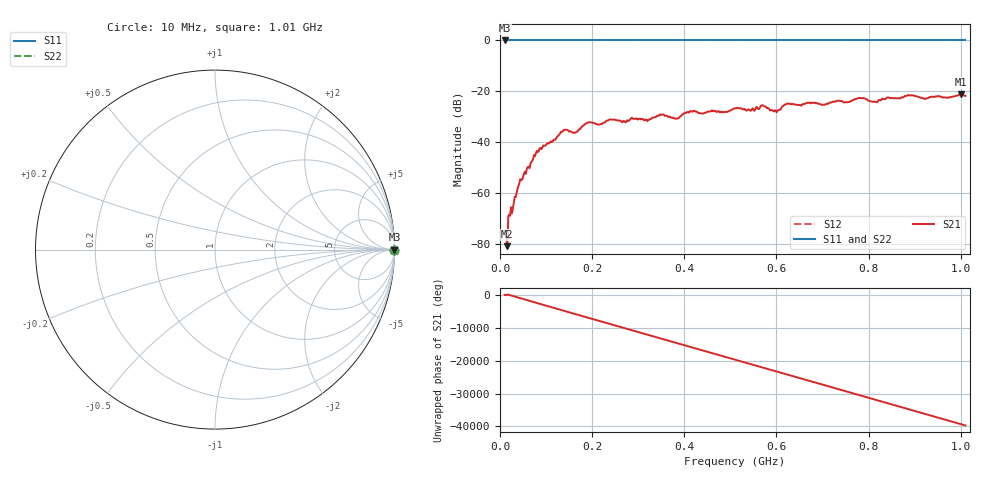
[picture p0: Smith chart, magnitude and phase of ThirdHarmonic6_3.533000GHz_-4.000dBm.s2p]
! 8/17/2025 11:36:58 AM
! C:\ANRITSUVNA\TEMP\TEMP.S2P
! CHANNEL.1
! TR.MEASUREMENT
! RAW.DATA
! RF.CORRECTION.OFF
! AVERAGING.OFF
! IF.BANDWIDTH: 5KHZ
! SWEEPTYPE:  FREQ.SWEEP(Linear)
! Reference Plane Port Info
! PORT:  PORT1  PORT2
! DISTANCE:  0  m  0  m
! TIME:  0  s  0  s
! PHASE.OFFSET:  0  deg.  0  deg.
! LOSS:  0  dB  0  dB
! REF.LOSS:  0  dB  0  dB
! REF.FREQ:  0  Hz  0  Hz
! Power Info
! POWER:  -20  dBm  -20  dBm
! EFF.POWER:  -20  dBm  -20  dBm
! SOURCE.ATTEN:  0  dB  0  dB
! TEST.ATTEN:  0  dB  0  dB
# GHZ S RI R 50.0
! FREQ.GHZ  S11RE  S11IM  S21RE  S21IM  S12RE  S12IM  S22RE  S22IM
!; PortSelection: Port_12
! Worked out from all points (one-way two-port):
!   501 points, 10 MHz to 1.01 GHz, reference 50 ohm
!   highest |S21| = -21.10 dB at 1 GHz (marker M1); lowest = -80.8 dB at 16 MHz (marker M2)
!   lowest |S11| = 0.0 dB at 10 MHz (marker M3)
!   |S11| at or under -10 dB: nowhere
!   |S22| runs from 0.0 to 0.0 dB; largest |S21 - S12| = 1.1
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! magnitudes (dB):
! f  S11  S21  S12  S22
! 10 MHz  0.0  -74.6  0.0  0.0
! 12 MHz  0.0  -75.5  0.0  0.0
! 16 MHz  0.0  -80.8  0.0  0.0
! 22 MHz  0.0  -68.8  0.0  0.0
! 42 MHz  0.0  -56.0  0.0  0.0
! 78 MHz  0.0  -44.2  0.0  0.0
! 136 MHz  0.0  -35.7  0.0  0.0
! 164 MHz  0.0  -36.1  0.0  0.0
! 178 MHz  0.0  -33.8  0.0  0.0
! 192 MHz  0.0  -32.1  0.0  0.0
! 322 MHz  0.0  -31.2  0.0  0.0
! 344 MHz  0.0  -29.6  0.0  0.0
! 384 MHz  0.0  -30.7  0.0  0.0
! 416 MHz  0.0  -27.9  0.0  0.0
! 510 MHz  0.0  -26.7  0.0  0.0
! 570 MHz  0.0  -25.4  0.0  0.0
! 598 MHz  0.0  -27.5  0.0  0.0
! 622 MHz  0.0  -25.0  0.0  0.0
! 678 MHz  0.0  -24.4  0.0  0.0
! 844 MHz  0.0  -22.5  0.0  0.0
! 1 GHz  0.0  -21.1  0.0  0.0
! 1.01 GHz  0.0  -21.8  0.0  0.0
